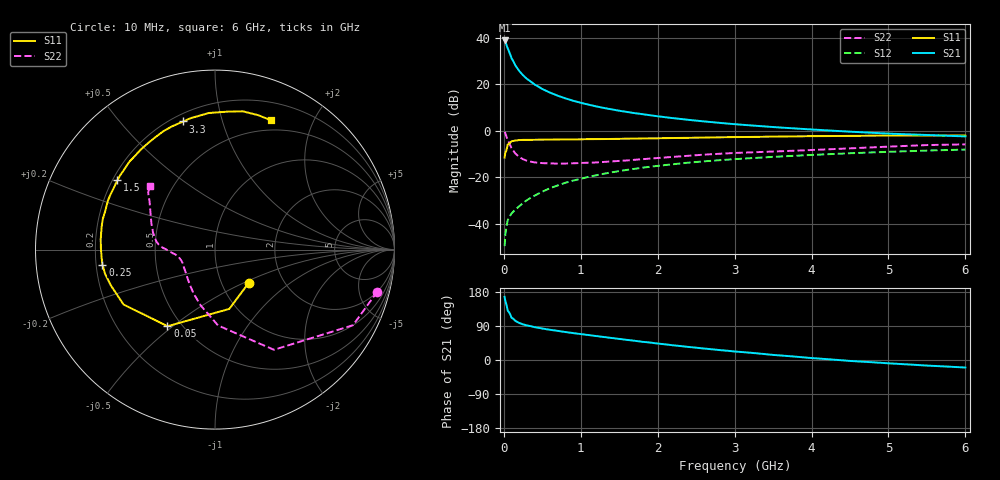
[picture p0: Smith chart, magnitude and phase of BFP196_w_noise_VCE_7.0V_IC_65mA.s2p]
! (c) 2017  Infineon Technologies AG, Munich
! Infineon Technologies  Discrete & RF Semiconductors
! BFP196
! VCE =  7.0 V,  IC =  65 mA
! Common Emitter S-Parameters:  Jan 2017
# GHz  S  MA  R  50
!  f  S11  S21  S12  S22
! GHz  MAG  ANG  MAG  ANG  MAG  ANG  MAG  ANG
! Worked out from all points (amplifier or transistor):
!   77 points, 10 MHz to 6 GHz, reference 50 ohm
!   highest |S21| = 38.7 dB at 10 MHz (marker M1)
!   |S21| within 3 dB of that: start of sweep to 45.92 MHz
!   unconditionally stable (mu >= 1): 481.5 MHz to 2.425 GHz
!   at 130 MHz: K = 0.66, MSG = 32.0 dB, |S12| = -34.6 dB
!   at 2.2 GHz: K = 1.01, MAG = 9.3 dB, |S12| = -14.4 dB
!   at 6 GHz: K = 0.95, MSG = 2.8 dB, |S12| = -8.1 dB
!   lowest NFmin = 1.62 dB at 450 MHz
!   S11 on the Smith chart (normalised r, x): 10 MHz: 1.34, -0.53; 50 MHz: 0.42, -0.48; 250 MHz: 0.23, -0.06; 1.5 GHz: 0.22, +0.31; 3.3 GHz: 0.24, +0.75; 6 GHz: 0.39, +1.46
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0.01  0.2638 -44.4  86.43 166.7  0.0033 80.3  0.9344 -14.5
0.02  0.3399 -76.5  81.95 155.1  0.0059 75.0  0.8766 -28.7
0.05  0.5024 -121.8  58.71 130.4  0.0118 56.9  0.6478 -59.5
0.1  0.5941 -149.0  35.95 111.7  0.0166 55.8  0.423 -87.7
0.15  0.6138 -161.1  25.07 103.1  0.0201 56.9  0.3215 -104.3
0.2  0.6271 -167.5  19.14 97.8  0.0238 59.9  0.2717 -116.1
0.25  0.6328 -172.4  15.42 94.0  0.0279 62.8  0.2431 -124.7
0.3  0.6335 -175.9  12.92 91.2  0.0321 64.1  0.2255 -131.8
0.4  0.6362 178.8  9.779 86.6  0.0401 66.7  0.2078 -141.6
0.5  0.6395 174.6  7.835 83.0  0.0488 67.8  0.2005 -148.5
0.6  0.6418 170.8  6.56 79.7  0.0582 67.8  0.1979 -153.9
0.7  0.6454 167.5  5.628 76.9  0.0665 68.1  0.1956 -157.8
0.9  0.6478 161.4  4.385 71.1  0.0845 66.7  0.1989 -163.2
1.1  0.6559 155.5  3.614 65.9  0.1016 65.0  0.2046 -167.1
1.5  0.6671 144.6  2.675 55.7  0.1352 60.2  0.2237 -173.3
2.1  0.6893 128.8  1.942 41.2  0.1824 52.1  0.2656 -179.3
2.6  0.7096 117.6  1.579 30.3  0.2187 45.3  0.3049 176.3
3.1  0.729 107.6  1.336 20.9  0.2497 38.7  0.336 170.3
3.3  0.7355 103.9  1.262 17.4  0.2613 36.2  0.3458 167.7
4.1  0.7626 91.1  1.036 3.7  0.3057 26.5  0.3895 155.9
5.1  0.7852 77.4  0.851 -9.9  0.3549 14.8  0.4604 142.7
6  0.7852 66.4  0.752 -19.9  0.3924 4.7  0.5073 135.9
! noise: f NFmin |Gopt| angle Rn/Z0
0.45  1.62  0.43  -173  0.06
0.9  1.78  0.49  -160  0.08
1.9  2.59  0.69  -131  0.35
2.4  3  0.7  -118  0.75
